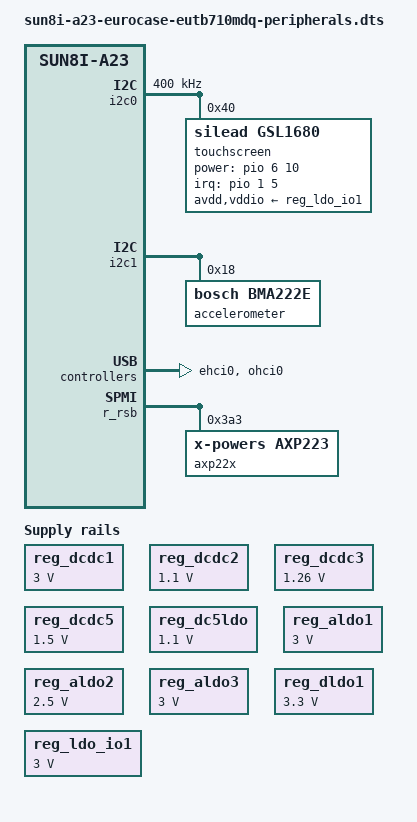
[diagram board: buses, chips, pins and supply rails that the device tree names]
// SPDX-License-Identifier: (GPL-2.0+ OR MIT)
#include "sun8i-a23-eurocase-eutb710mdq-diagnostic.dts"
#include <dt-bindings/gpio/gpio.h>
#include <dt-bindings/interrupt-controller/irq.h>

/ {
    chosen {
        bootargs = "console=ttyS0,115200 earlycon=uart8250,mmio32,0x01c28000,115200n8 maxcpus=1 clk_ignore_unused loglevel=7 panic=0 rdinit=/init";
    };
    aliases { i2c0 = &i2c0; i2c1 = &i2c1; };
};

&i2c0 {
    clock-frequency = <400000>;
    status = "okay";
    touchscreen@40 {
        compatible = "silead,gsl1680";
        reg = <0x40>;
        interrupt-parent = <&pio>;
        interrupts = <1 5 IRQ_TYPE_EDGE_FALLING>; // PB5; stock caller flags=2
        power-gpios = <&pio 6 10 GPIO_ACTIVE_HIGH>; // PG10, stock wakeup
        touchscreen-size-x = <1024>;
        touchscreen-size-y = <600>;
        silead,max-fingers = <5>;
        firmware-name = "eurocase-g739-gsl1680-1024x600.fw";
        avdd-supply = <&reg_ldo_io1>;
        vddio-supply = <&reg_ldo_io1>;
    };
};

&i2c1 {
    status = "okay";
    accelerometer@18 {
        compatible = "bosch,bma222e"; // Stock bma223 reports chip ID 0xf8
        reg = <0x18>;
        // Polling through IIO first; orientation/interrupt mapping deferred.
    };
};

// Internal USB Wi-Fi: stock 0bda:8179, DLDO1=3.3 V supplied by tested SPL.
&ehci0 { status = "okay"; };
&ohci0 { status = "okay"; };

&r_rsb {
    status = "okay";
    axp22x: pmic@3a3 {
        compatible = "x-powers,axp223";
        reg = <0x3a3>;
        interrupt-parent = <&r_intc>;
        interrupts = <GIC_SPI 32 IRQ_TYPE_LEVEL_LOW>;
        #address-cells = <0>;
    };
};
#include "axp223.dtsi"

// Preserve the enabled stock/SPL rails; CPU frequency scaling remains disabled.
&reg_dcdc1 { regulator-always-on; regulator-min-microvolt = <3000000>; regulator-max-microvolt = <3000000>; };
&reg_dcdc2 { regulator-always-on; regulator-min-microvolt = <1100000>; regulator-max-microvolt = <1100000>; };
&reg_dcdc3 { regulator-always-on; regulator-min-microvolt = <1260000>; regulator-max-microvolt = <1260000>; };
&reg_dcdc5 { regulator-always-on; regulator-min-microvolt = <1500000>; regulator-max-microvolt = <1500000>; };
&reg_dc5ldo { regulator-always-on; regulator-min-microvolt = <1100000>; regulator-max-microvolt = <1100000>; };
&reg_aldo1 { regulator-always-on; regulator-min-microvolt = <3000000>; regulator-max-microvolt = <3000000>; };
&reg_aldo2 { regulator-always-on; regulator-min-microvolt = <2500000>; regulator-max-microvolt = <2500000>; };
&reg_aldo3 { regulator-always-on; regulator-min-microvolt = <3000000>; regulator-max-microvolt = <3000000>; };
&reg_dldo1 { regulator-always-on; regulator-min-microvolt = <3300000>; regulator-max-microvolt = <3300000>; };
&reg_ldo_io1 {
    status = "okay";
    regulator-always-on;
    regulator-min-microvolt = <3000000>;
    regulator-max-microvolt = <3000000>;
};
&usbphy { usb1_vbus-supply = <&reg_dldo1>; };
